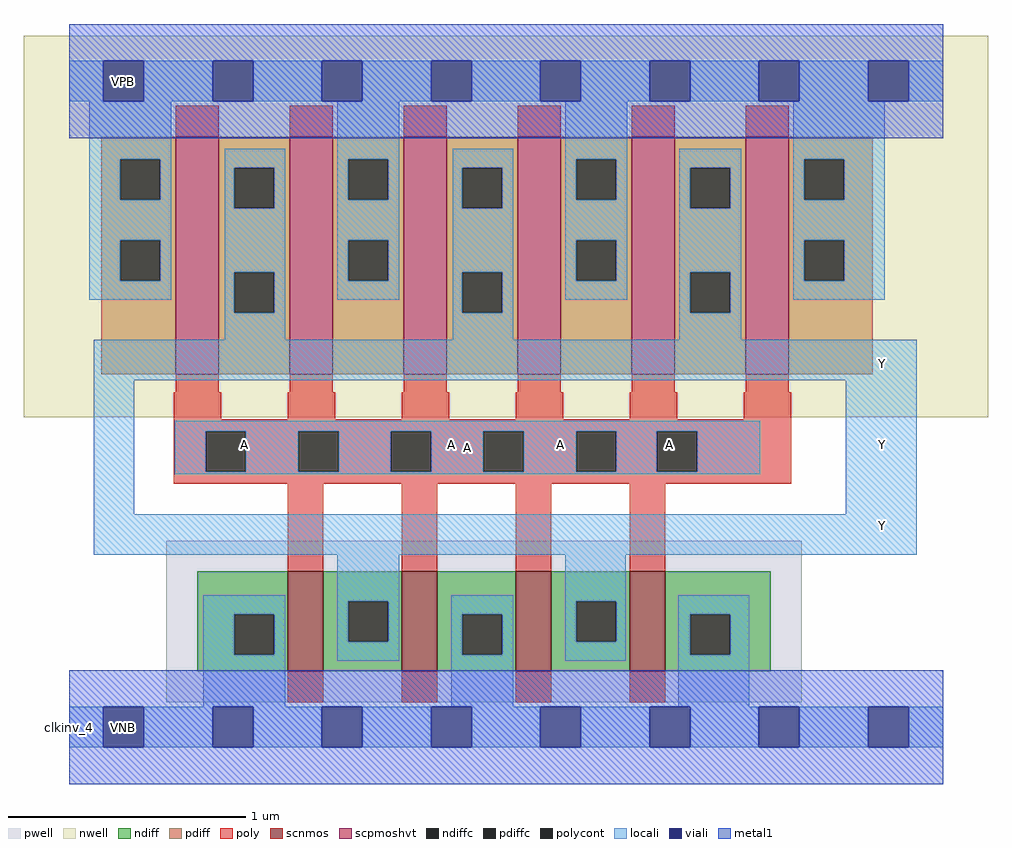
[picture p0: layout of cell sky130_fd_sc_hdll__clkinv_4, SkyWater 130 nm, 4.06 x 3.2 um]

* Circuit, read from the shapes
.subckt sky130_fd_sc_hdll__clkinv_4 A VGND VNB VPB VPWR Y
XM1 Y A VGND VNB sky130_fd_pr__nfet_01v8 w=0.42 l=0.15 m=4
XM2 Y A VPWR VPB sky130_fd_pr__pfet_01v8_hvt w=1 l=0.18 m=6
.ends

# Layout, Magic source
magic
tech sky130A
magscale 1 2
<< nwell >>
rect -38 261 774 582
<< pwell >>
rect 82 21 617 157
rect 29 -17 63 17
<< scnmos >>
rect 184 47 214 131
rect 280 47 310 131
rect 376 47 406 131
rect 472 47 502 131
<< scpmoshvt >>
rect 90 297 126 497
rect 186 297 222 497
rect 282 297 318 497
rect 378 297 414 497
rect 474 297 510 497
rect 570 297 606 497
<< ndiff >>
rect 108 95 184 131
rect 108 61 139 95
rect 173 61 184 95
rect 108 47 184 61
rect 214 106 280 131
rect 214 72 235 106
rect 269 72 280 106
rect 214 47 280 72
rect 310 95 376 131
rect 310 61 331 95
rect 365 61 376 95
rect 310 47 376 61
rect 406 106 472 131
rect 406 72 427 106
rect 461 72 472 106
rect 406 47 472 72
rect 502 95 591 131
rect 502 61 523 95
rect 557 61 591 95
rect 502 47 591 61
<< pdiff >>
rect 27 478 90 497
rect 27 444 43 478
rect 77 444 90 478
rect 27 410 90 444
rect 27 376 43 410
rect 77 376 90 410
rect 27 297 90 376
rect 126 471 186 497
rect 126 437 139 471
rect 173 437 186 471
rect 126 383 186 437
rect 126 349 139 383
rect 173 349 186 383
rect 126 297 186 349
rect 222 478 282 497
rect 222 444 235 478
rect 269 444 282 478
rect 222 410 282 444
rect 222 376 235 410
rect 269 376 282 410
rect 222 297 282 376
rect 318 471 378 497
rect 318 437 331 471
rect 365 437 378 471
rect 318 383 378 437
rect 318 349 331 383
rect 365 349 378 383
rect 318 297 378 349
rect 414 478 474 497
rect 414 444 427 478
rect 461 444 474 478
rect 414 410 474 444
rect 414 376 427 410
rect 461 376 474 410
rect 414 297 474 376
rect 510 471 570 497
rect 510 437 523 471
rect 557 437 570 471
rect 510 383 570 437
rect 510 349 523 383
rect 557 349 570 383
rect 510 297 570 349
rect 606 478 677 497
rect 606 444 619 478
rect 653 444 677 478
rect 606 410 677 444
rect 606 376 619 410
rect 653 376 677 410
rect 606 297 677 376
<< ndiffc >>
rect 139 61 173 95
rect 235 72 269 106
rect 331 61 365 95
rect 427 72 461 106
rect 523 61 557 95
<< pdiffc >>
rect 43 444 77 478
rect 43 376 77 410
rect 139 437 173 471
rect 139 349 173 383
rect 235 444 269 478
rect 235 376 269 410
rect 331 437 365 471
rect 331 349 365 383
rect 427 444 461 478
rect 427 376 461 410
rect 523 437 557 471
rect 523 349 557 383
rect 619 444 653 478
rect 619 376 653 410
<< poly >>
rect 90 497 126 523
rect 186 497 222 523
rect 282 497 318 523
rect 378 497 414 523
rect 474 497 510 523
rect 570 497 606 523
rect 90 282 126 297
rect 186 282 222 297
rect 282 282 318 297
rect 378 282 414 297
rect 474 282 510 297
rect 570 282 606 297
rect 88 259 128 282
rect 184 259 224 282
rect 280 259 320 282
rect 376 259 416 282
rect 472 259 512 282
rect 568 259 608 282
rect 88 249 608 259
rect 88 215 115 249
rect 149 215 193 249
rect 227 215 271 249
rect 305 215 349 249
rect 383 215 427 249
rect 461 215 495 249
rect 529 215 608 249
rect 88 205 608 215
rect 184 131 214 205
rect 280 131 310 205
rect 376 131 406 205
rect 472 131 502 205
rect 184 21 214 47
rect 280 21 310 47
rect 376 21 406 47
rect 472 21 502 47
<< polycont >>
rect 115 215 149 249
rect 193 215 227 249
rect 271 215 305 249
rect 349 215 383 249
rect 427 215 461 249
rect 495 215 529 249
<< locali >>
rect 0 527 29 561
rect 63 527 121 561
rect 155 527 213 561
rect 247 527 305 561
rect 339 527 397 561
rect 431 527 489 561
rect 523 527 581 561
rect 615 527 673 561
rect 707 527 736 561
rect 17 478 86 527
rect 17 444 43 478
rect 77 444 86 478
rect 17 410 86 444
rect 17 376 43 410
rect 77 376 86 410
rect 17 360 86 376
rect 131 471 182 487
rect 131 437 139 471
rect 173 437 182 471
rect 131 383 182 437
rect 131 349 139 383
rect 173 349 182 383
rect 226 478 278 527
rect 226 444 235 478
rect 269 444 278 478
rect 226 410 278 444
rect 226 376 235 410
rect 269 376 278 410
rect 226 360 278 376
rect 323 471 374 487
rect 323 437 331 471
rect 365 437 374 471
rect 323 383 374 437
rect 131 326 182 349
rect 323 349 331 383
rect 365 349 374 383
rect 418 478 470 527
rect 418 444 427 478
rect 461 444 470 478
rect 418 410 470 444
rect 418 376 427 410
rect 461 376 470 410
rect 418 360 470 376
rect 514 471 566 487
rect 514 437 523 471
rect 557 437 566 471
rect 514 383 566 437
rect 323 326 374 349
rect 514 349 523 383
rect 557 349 566 383
rect 610 478 687 527
rect 610 444 619 478
rect 653 444 687 478
rect 610 410 687 444
rect 610 376 619 410
rect 653 376 687 410
rect 610 360 687 376
rect 514 326 566 349
rect 21 292 714 326
rect 21 179 55 292
rect 89 249 582 258
rect 89 215 115 249
rect 149 215 193 249
rect 227 215 271 249
rect 305 215 349 249
rect 383 215 427 249
rect 461 215 495 249
rect 529 215 582 249
rect 89 213 582 215
rect 654 179 714 292
rect 21 145 714 179
rect 113 95 182 111
rect 113 61 139 95
rect 173 61 182 95
rect 113 17 182 61
rect 226 106 278 145
rect 226 72 235 106
rect 269 72 278 106
rect 226 56 278 72
rect 322 95 374 111
rect 322 61 331 95
rect 365 61 374 95
rect 322 17 374 61
rect 418 106 469 145
rect 418 72 427 106
rect 461 72 469 106
rect 418 56 469 72
rect 513 95 573 111
rect 513 61 523 95
rect 557 61 573 95
rect 513 17 573 61
rect 0 -17 29 17
rect 63 -17 121 17
rect 155 -17 213 17
rect 247 -17 305 17
rect 339 -17 397 17
rect 431 -17 489 17
rect 523 -17 581 17
rect 615 -17 673 17
rect 707 -17 736 17
<< viali >>
rect 29 527 63 561
rect 121 527 155 561
rect 213 527 247 561
rect 305 527 339 561
rect 397 527 431 561
rect 489 527 523 561
rect 581 527 615 561
rect 673 527 707 561
rect 29 -17 63 17
rect 121 -17 155 17
rect 213 -17 247 17
rect 305 -17 339 17
rect 397 -17 431 17
rect 489 -17 523 17
rect 581 -17 615 17
rect 673 -17 707 17
<< metal1 >>
rect 0 561 736 592
rect 0 527 29 561
rect 63 527 121 561
rect 155 527 213 561
rect 247 527 305 561
rect 339 527 397 561
rect 431 527 489 561
rect 523 527 581 561
rect 615 527 673 561
rect 707 527 736 561
rect 0 496 736 527
rect 0 17 736 48
rect 0 -17 29 17
rect 63 -17 121 17
rect 155 -17 213 17
rect 247 -17 305 17
rect 339 -17 397 17
rect 431 -17 489 17
rect 523 -17 581 17
rect 615 -17 673 17
rect 707 -17 736 17
rect 0 -48 736 -17
<< labels >>
flabel locali s 89 213 582 258 0 FreeSans 400 0 0 0 A
port 1 nsew signal input
flabel locali s 322 238 322 238 0 FreeSans 400 0 0 0 A
port 1 nsew
flabel locali s 668 153 702 187 0 FreeSans 400 0 0 0 Y
port 6 nsew signal output
flabel locali s 131 221 165 255 0 FreeSans 400 0 0 0 A
port 1 nsew
flabel locali s 668 289 702 323 0 FreeSans 400 0 0 0 Y
port 6 nsew signal output
flabel locali s 506 238 506 238 0 FreeSans 400 0 0 0 A
port 1 nsew
flabel locali s 414 238 414 238 0 FreeSans 400 0 0 0 A
port 1 nsew
flabel locali s 668 221 702 255 0 FreeSans 400 0 0 0 Y
port 6 nsew signal output
flabel pwell s 29 -17 63 17 0 FreeSans 200 0 0 0 VNB
port 3 nsew ground bidirectional
flabel nwell s 29 527 63 561 0 FreeSans 200 0 0 0 VPB
port 4 nsew power bidirectional
flabel metal1 s 29 527 63 561 0 FreeSans 200 0 0 0 VPWR
port 5 nsew power bidirectional
flabel metal1 s 29 -17 63 17 0 FreeSans 200 0 0 0 VGND
port 2 nsew ground bidirectional
rlabel comment s 0 0 0 0 4 clkinv_4
<< properties >>
string LEFsite unithd
string LEFclass CORE
string FIXED_BBOX 0 0 736 544
string GDS_FILE $PDKPATH/libs.ref/sky130_fd_sc_hdll/gds/sky130_fd_sc_hdll.gds
string LEFsymmetry X Y R90
string GDS_END 2017382
string GDS_START 2011224
string LEFproperties maskLayoutSubType "abstract" prCellType "standard" originalViewName "layout"
<< end >>
